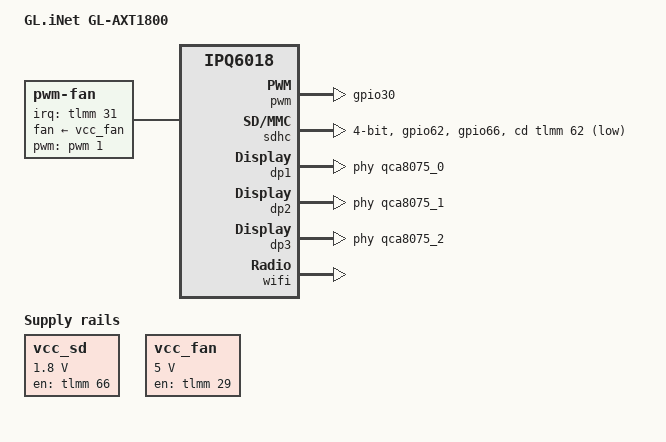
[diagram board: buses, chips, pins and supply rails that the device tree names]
// SPDX-License-Identifier: GPL-2.0-or-later OR MIT

/dts-v1/;

#include "ipq6000-glinet.dtsi"

/ {
	model = "GL.iNet GL-AXT1800";
	compatible = "glinet,gl-axt1800", "qcom,ipq6018";

	aliases {
		label-mac-device = &dp1;
	};

	vcc_sd: regulator-vcc-sd {
		compatible = "regulator-fixed";
		regulator-name = "vcc_sd";
		regulator-min-microvolt = <1800000>;
		regulator-max-microvolt = <1800000>;
		gpios = <&tlmm 66 GPIO_ACTIVE_HIGH>;
		enable-active-high;
		regulator-always-on;
	};

	vcc_fan: regulator-vcc-fan {
		compatible = "regulator-fixed";
		regulator-name = "vcc_fan";
		regulator-min-microvolt = <5000000>;
		regulator-max-microvolt = <5000000>;
		gpio = <&tlmm 29 GPIO_ACTIVE_HIGH>;
		enable-active-high;
		regulator-boot-on;
	};

	fan: pwm-fan {
		compatible = "pwm-fan";
		pwms = <&pwm 1 40000 0>;
		fan-supply = <&vcc_fan>;
		interrupt-parent = <&tlmm>;
		interrupts = <31 IRQ_TYPE_EDGE_RISING>;
		cooling-levels = <36 128 192 255>;
		#cooling-cells = <2>;
	};

	thermal-zones {
		cpu-thermal {
			trips {
				cpu_trip_high: active-high {
					temperature = <100000>;
					hysteresis = <2000>;
					type = "active";
				};

				cpu_trip_med: active-med {
					temperature = <75000>;
					hysteresis = <2000>;
					type = "active";
				};

				cpu_trip_low: active-low {
					temperature = <50000>;
					hysteresis = <2000>;
					type = "active";
				};
			};

			cooling-maps {
				cpu-active-high {
					cooling-device = <&fan 3 3>;
					trip = <&cpu_trip_high>;
				};

				cpu-active-med {
					cooling-device = <&fan 2 2>;
					trip = <&cpu_trip_med>;
				};

				cpu-active-low {
					cooling-device = <&fan 1 1>;
					trip = <&cpu_trip_low>;
				};
			};
		};
	};
};

&tlmm {
	pwm_pins: pwm-pins {
		pwm {
			pins = "gpio30";
			function = "pwm13";
			drive-strength = <8>;
		};
	};

	sd_pins: sd-pins {
		sd {
			pins = "gpio62";
			function = "sd_card";
			bias-pull-up;
		};
		ldo {
			pins = "gpio66";
			function = "gpio";
			bias-pull-up;
		};
	};
};

&partitions {
	partition@a00000 {
		label = "rootfs";
		reg = <0x0a00000 0x7280000>;
	};

	partition@7c80000 {
		label = "log";
		reg = <0x7c80000 0x0080000>;
	};
};

&pwm {
	pinctrl-0 = <&pwm_pins>;
	pinctrl-names = "default";
	status = "okay";
};

&sdhc {
	mmc-ddr-1_8v;
	bus-width = <4>;
	cd-gpios = <&tlmm 62 GPIO_ACTIVE_LOW>;
	pinctrl-0 = <&sd_pins>;
	pinctrl-names = "default";
	vqmmc-supply = <&vcc_sd>;
	status = "okay";
};

&switch {
	switch_lan_bmp = <(ESS_PORT2 | ESS_PORT3)>;
	switch_wan_bmp = <ESS_PORT1>;
};

&dp1 {
	status = "okay";
	phy-handle = <&qca8075_0>;
	label = "wan";
	nvmem-cells = <&macaddr_wan>;
	nvmem-cell-names = "mac-address";
};

&dp2 {
	status = "okay";
	phy-handle = <&qca8075_1>;
	label = "lan2";
	nvmem-cells = <&macaddr_lan>;
	nvmem-cell-names = "mac-address";
};

&dp3 {
	status = "okay";
	phy-handle = <&qca8075_2>;
	label = "lan1";
	nvmem-cells = <&macaddr_lan>;
	nvmem-cell-names = "mac-address";
};

&wifi {
	qcom,ath11k-calibration-variant = "GL-iNet-GL-AXT1800";
};
